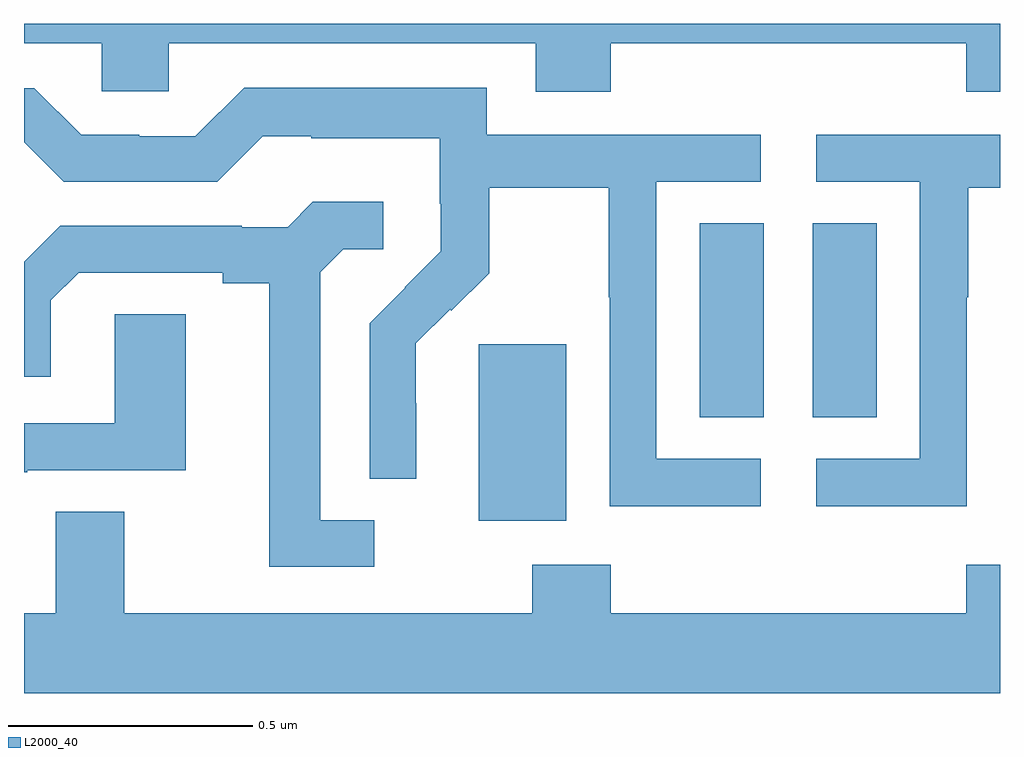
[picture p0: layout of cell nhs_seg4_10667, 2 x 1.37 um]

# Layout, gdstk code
import gdstk
lib = gdstk.Library(unit=1e-6, precision=1e-09)
def R(c, l, rs):  # rectangles x0, y0, x1, y1
    for r in rs: c.add(gdstk.rectangle(r[:2], r[2:], *l))
def P(c, l, *ps):  # polygons
    for p in ps: c.add(gdstk.Polygon(p, *l))
L2000_40 = (2000, 40)

nhs_seg4_10667 = lib.new_cell('nhs_seg4_10667')
R(nhs_seg4_10667, L2000_40, [(243.932,755.882,244.111,756.243), (244.385,756.094,244.516,756.491), (244.616,756.094,244.747,756.491)])
P(nhs_seg4_10667, L2000_40, [(244.202,756.86),(244.931,756.86),(244.931,756.761),(245,756.761),(245,756.9),(243,756.9),(243,756.86),(243.159,756.86),(243.159,756.762),(243.297,756.762),(243.297,756.86),(244.049,756.86),(244.049,756.761),(244.202,756.761)],
  [(244.51,756.009),(244.296,756.009),(244.296,756.576),(244.51,756.576),(244.51,756.672),(243.948,756.672),(243.948,756.769),(243.451,756.769),(243.351,756.669),(243.236,756.669),(243.236,756.672),(243.117,756.672),(243.021,756.768),(243,756.768),(243,756.657),(243.081,756.576),(243.396,756.576),(243.489,756.669),(243.589,756.669),(243.589,756.665),(243.852,756.665),(243.852,756.531),(243.854,756.531),(243.854,756.434),(243.78,756.36),(243.781,756.359),(243.708,756.286),(243.708,755.968),(243.804,755.968),(243.804,756.122),(243.803,756.122),(243.803,756.245),(243.873,756.315),(243.876,756.312),(243.953,756.389),(243.953,756.564),(244.198,756.564),(244.198,756.34),(244.2,756.34),(244.2,755.911),(244.51,755.911)],
  [(244.932,756.34),(244.935,756.34),(244.935,756.564),(245,756.564),(245,756.672),(244.623,756.672),(244.623,756.576),(244.836,756.576),(244.836,756.009),(244.623,756.009),(244.623,755.911),(244.932,755.911)],
  [(243.718,755.883),(243.607,755.883),(243.607,756.391),(243.654,756.438),(243.736,756.438),(243.736,756.535),(243.592,756.535),(243.54,756.483),(243.446,756.483),(243.446,756.486),(243.074,756.486),(243,756.412),(243,756.177),(243.055,756.177),(243.055,756.333),(243.112,756.39),(243.407,756.39),(243.407,756.368),(243.503,756.368),(243.503,755.787),(243.718,755.787)],
  [(243.007,755.985),(243.331,755.985),(243.331,756.305),(243.186,756.305),(243.186,756.081),(243,756.081),(243,755.981),(243.007,755.981)],
  [(245,755.791),(244.931,755.791),(244.931,755.692),(244.202,755.692),(244.202,755.791),(244.042,755.791),(244.042,755.692),(243.205,755.692),(243.205,755.9),(243.065,755.9),(243.065,755.692),(243,755.692),(243,755.528),(245,755.528)])

lib.write_gds('nhs_seg4_10667.gds')
